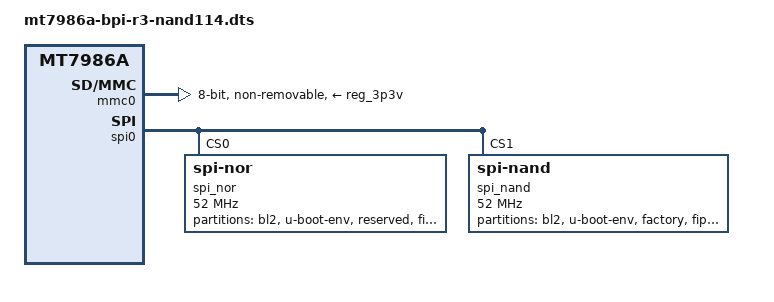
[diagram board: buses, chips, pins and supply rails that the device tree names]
// SPDX-License-Identifier: GPL-2.0
/*
 * Copyright (c) 2021 MediaTek Inc.
 * Author: Sam Shih <sam.shih@mediatek.com>
 */

/dts-v1/;
#include "mt7986a-bpi-r3-sd.dts"
#include <dt-bindings/gpio/gpio.h>

&mmc0 {
	pinctrl-names = "default";
	pinctrl-0 = <&mmc0_pins_default>;
	bus-width = <8>;
	max-frequency = <200000000>;
	cap-mmc-highspeed;
	cap-mmc-hw-reset;
	vmmc-supply = <&reg_3p3v>;
	vqmmc-supply = <&reg_1p8v>;
	non-removable;
	status = "okay";
};

&spi0 {
	#address-cells = <1>;
	#size-cells = <0>;
	pinctrl-names = "default";
	pinctrl-0 = <&spi_flash_pins>;
	status = "okay";
	must_tx;
	enhance_timing;
	dma_ext;
	ipm_design;
	support_quad;
	tick_dly = <1>;
	sample_sel = <0>;

	spi_nor@0 {
		compatible = "jedec,spi-nor";
		reg = <0>;
		spi-max-frequency = <52000000>;

		partitions {
			compatible = "fixed-partitions";
			#address-cells = <1>;
			#size-cells = <1>;

			partition@0 {
				label = "bl2";
				reg = <0x0 0x40000>;
			};

			partition@40000 {
				label = "u-boot-env";
				reg = <0x40000 0x40000>;
			};

			partition@80000 {
				label = "reserved";
				reg = <0x80000 0x80000>;
			};

			partition@100000 {
				label = "fip";
				reg = <0x100000 0x80000>;
			};

			partition@180000 {
				label = "recovery";
				reg = <0x180000 0xa80000>;
			};

			partition@c00000 {
				label = "fit";
				reg = <0xc00000 0x1400000>;
			};
		};
	};

	spi_nand@1 {
		compatible = "spi-nand";
		reg = <1>;
		spi-max-frequency = <52000000>;

		partitions {
			compatible = "fixed-partitions";
			#address-cells = <1>;
			#size-cells = <1>;

			partition@0 {
				label = "bl2";
				reg = <0x00000 0x0100000>;
				read-only;
			};

			partition@100000 {
				label = "u-boot-env";
				reg = <0x100000 0x0080000>;
			};

			partition@180000 {
				label = "factory";
				reg = <0x180000 0x0200000>;
			};

			partition@380000 {
				label = "fip";
				reg = <0x380000 0x0200000>;
			};

			partition@580000 {
				label = "ubi";
				reg = <0x580000 0x7280000>;
			};
		};
	};
};
